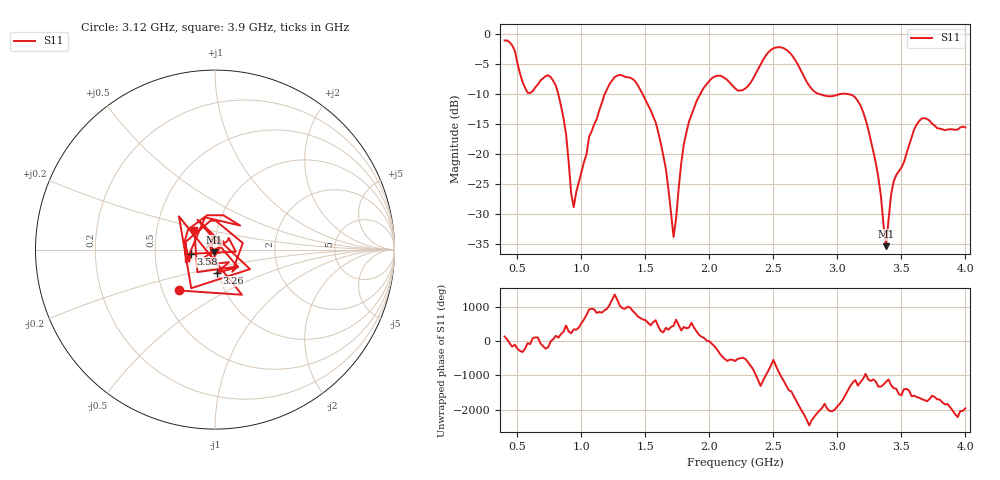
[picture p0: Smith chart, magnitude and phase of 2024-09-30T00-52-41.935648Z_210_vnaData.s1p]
!Created with skrf (http://scikit-rf.org).
# Hz S RI R 50.0
!freq ReS11 ImS11
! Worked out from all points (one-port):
!   181 points, 400 MHz to 4 GHz, reference 50 ohm
!   lowest |S11| = -35.4 dB at 3.38 GHz (marker M1), VSWR 1.03, Z = 49.4 - j1.57 ohm
!   |S11| at or under -10 dB: 818.2 MHz to 1.184 GHz (366.3 MHz wide, 36.6 % of centre); 1.476 GHz to 1.931 GHz (455.1 MHz wide, 26.7 % of centre); 2.846 GHz to end of sweep
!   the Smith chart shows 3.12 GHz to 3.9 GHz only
!   S11 on the Smith chart (normalised r, x): 3.12 GHz: 0.61, -0.30; 3.26 GHz: 0.99, -0.26; 3.58 GHz: 0.76, -0.04; 3.9 GHz: 0.78, +0.18
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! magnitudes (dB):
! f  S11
! 400 MHz  -1.2
! 580 MHz  -9.9
! 760 MHz  -7.3
! 860 MHz  -14.1
! 940 MHz  -28.9
! 1.06 GHz  -17.2
! 1.3 GHz  -6.9
! 1.58 GHz  -14.8
! 1.66 GHz  -22.6
! 1.72 GHz  -33.9
! 1.76 GHz  -25.8
! 1.82 GHz  -16.5
! 1.94 GHz  -9.6
! 2.2 GHz  -9.1
! 2.5 GHz  -2.5
! 2.66 GHz  -4.1
! 2.84 GHz  -10.0
! 3.1 GHz  -10.2
! 3.12 GHz  -10.3
! 3.26 GHz  -17.7
! 3.32 GHz  -24.0
! 3.38 GHz  -35.4
! 3.44 GHz  -24.6
! 3.56 GHz  -18.7
! 3.58 GHz  -17.3
! 3.66 GHz  -14.1
! 3.9 GHz  -16.0
! 4 GHz  -15.7
